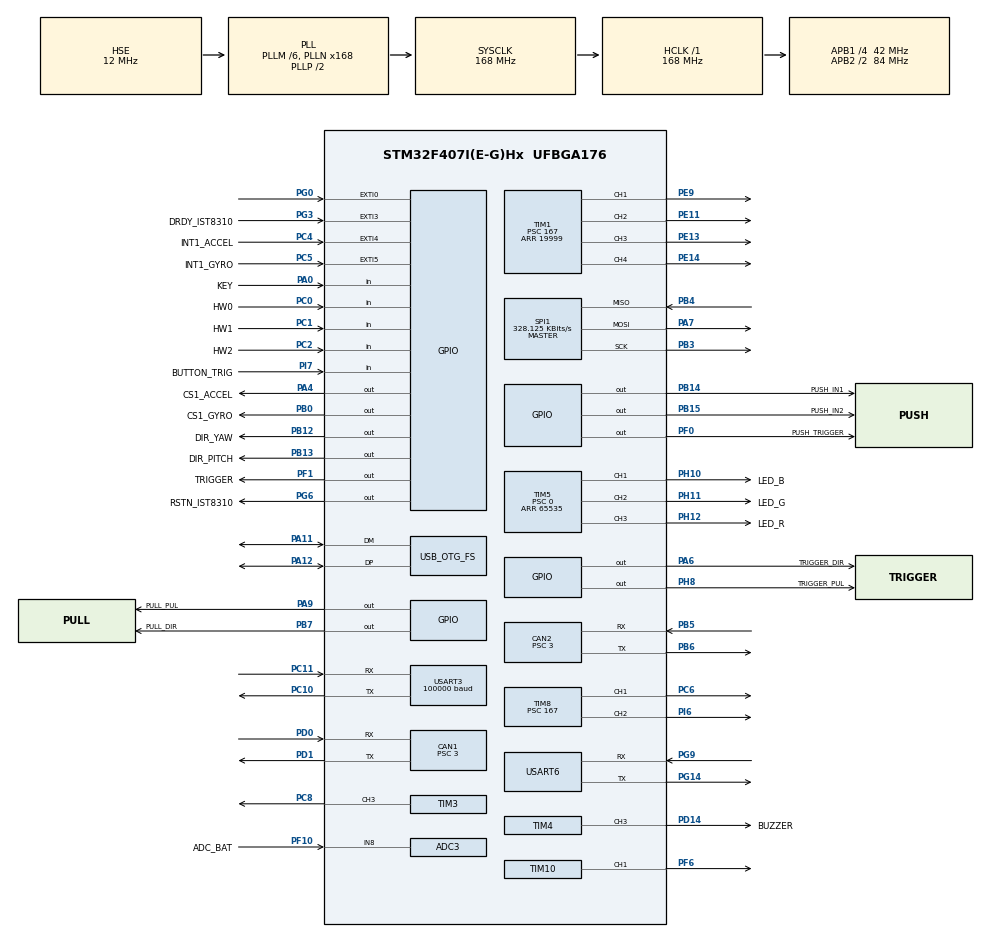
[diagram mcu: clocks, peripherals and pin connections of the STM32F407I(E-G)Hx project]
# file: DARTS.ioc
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ADC1.Channel-0\#ChannelRegularConversion=ADC_CHANNEL_TEMPSENSOR
ADC1.ClockPrescaler=ADC_CLOCK_SYNC_PCLK_DIV6
ADC1.NbrOfConversionFlag=1
ADC1.Rank-0\#ChannelRegularConversion=1
ADC1.SamplingTime-0\#ChannelRegularConversion=ADC_SAMPLETIME_3CYCLES
ADC1.master=1
ADC3.Channel-0\#ChannelRegularConversion=ADC_CHANNEL_8
ADC3.ClockPrescaler=ADC_CLOCK_SYNC_PCLK_DIV6
ADC3.NbrOfConversionFlag=1
ADC3.Rank-0\#ChannelRegularConversion=1
ADC3.SamplingTime-0\#ChannelRegularConversion=ADC_SAMPLETIME_3CYCLES
CAN1.BS1=CAN_BS1_10TQ
CAN1.BS2=CAN_BS2_3TQ
CAN1.CalculateTimeQuantum=71.42857142857143
CAN1.Prescaler=3
CAN2.BS1=CAN_BS1_10TQ
CAN2.BS2=CAN_BS2_3TQ
CAN2.CalculateTimeQuantum=71.42857142857143
CAN2.Prescaler=3
Dma.Request0=SPI1_RX
Dma.Request1=SPI1_TX
Dma.Request2=USART3_RX
Dma.Request3=USART6_RX
Dma.Request4=USART6_TX
Dma.SPI1_RX.0.Direction=DMA_PERIPH_TO_MEMORY
Dma.SPI1_RX.0.FIFOMode=DMA_FIFOMODE_DISABLE
Dma.SPI1_RX.0.Instance=DMA2_Stream2
Dma.SPI1_RX.0.MemDataAlignment=DMA_MDATAALIGN_BYTE
Dma.SPI1_RX.0.MemInc=DMA_MINC_ENABLE
Dma.SPI1_RX.0.Mode=DMA_NORMAL
Dma.SPI1_RX.0.PeriphDataAlignment=DMA_PDATAALIGN_BYTE
Dma.SPI1_RX.0.PeriphInc=DMA_PINC_DISABLE
Dma.SPI1_RX.0.Priority=DMA_PRIORITY_VERY_HIGH
Dma.SPI1_TX.1.Direction=DMA_MEMORY_TO_PERIPH
Dma.SPI1_TX.1.FIFOMode=DMA_FIFOMODE_DISABLE
Dma.SPI1_TX.1.Instance=DMA2_Stream3
Dma.SPI1_TX.1.MemDataAlignment=DMA_MDATAALIGN_BYTE
Dma.SPI1_TX.1.MemInc=DMA_MINC_ENABLE
Dma.SPI1_TX.1.Mode=DMA_NORMAL
Dma.SPI1_TX.1.PeriphDataAlignment=DMA_PDATAALIGN_BYTE
Dma.SPI1_TX.1.PeriphInc=DMA_PINC_DISABLE
Dma.SPI1_TX.1.Priority=DMA_PRIORITY_HIGH
Dma.USART3_RX.2.Direction=DMA_PERIPH_TO_MEMORY
Dma.USART3_RX.2.FIFOMode=DMA_FIFOMODE_DISABLE
Dma.USART3_RX.2.Instance=DMA1_Stream1
Dma.USART3_RX.2.MemDataAlignment=DMA_MDATAALIGN_BYTE
Dma.USART3_RX.2.MemInc=DMA_MINC_ENABLE
Dma.USART3_RX.2.Mode=DMA_NORMAL
Dma.USART3_RX.2.PeriphDataAlignment=DMA_PDATAALIGN_BYTE
Dma.USART3_RX.2.PeriphInc=DMA_PINC_DISABLE
Dma.USART3_RX.2.Priority=DMA_PRIORITY_HIGH
Dma.USART6_RX.3.Direction=DMA_PERIPH_TO_MEMORY
Dma.USART6_RX.3.FIFOMode=DMA_FIFOMODE_DISABLE
Dma.USART6_RX.3.Instance=DMA2_Stream1
Dma.USART6_RX.3.MemDataAlignment=DMA_MDATAALIGN_BYTE
Dma.USART6_RX.3.MemInc=DMA_MINC_ENABLE
Dma.USART6_RX.3.Mode=DMA_NORMAL
Dma.USART6_RX.3.PeriphDataAlignment=DMA_PDATAALIGN_BYTE
Dma.USART6_RX.3.PeriphInc=DMA_PINC_DISABLE
Dma.USART6_RX.3.Priority=DMA_PRIORITY_HIGH
Dma.USART6_TX.4.Direction=DMA_MEMORY_TO_PERIPH
Dma.USART6_TX.4.FIFOMode=DMA_FIFOMODE_DISABLE
Dma.USART6_TX.4.Instance=DMA2_Stream6
Dma.USART6_TX.4.MemDataAlignment=DMA_MDATAALIGN_BYTE
Dma.USART6_TX.4.MemInc=DMA_MINC_ENABLE
Dma.USART6_TX.4.Mode=DMA_NORMAL
Dma.USART6_TX.4.PeriphDataAlignment=DMA_PDATAALIGN_BYTE
Dma.USART6_TX.4.PeriphInc=DMA_PINC_DISABLE
Dma.USART6_TX.4.Priority=DMA_PRIORITY_MEDIUM
FREERTOS.INCLUDE_eTaskGetState=1
FREERTOS.INCLUDE_pcTaskGetTaskName=1
FREERTOS.INCLUDE_uxTaskGetStackHighWaterMark=1
FREERTOS.INCLUDE_vTaskCleanUpResources=1
FREERTOS.INCLUDE_vTaskDelayUntil=1
FREERTOS.INCLUDE_xEventGroupSetBitFromISR=1
FREERTOS.INCLUDE_xQueueGetMutexHolder=1
FREERTOS.INCLUDE_xSemaphoreGetMutexHolder=1
FREERTOS.INCLUDE_xTaskAbortDelay=1
FREERTOS.INCLUDE_xTaskGetCurrentTaskHandle=1
FREERTOS.INCLUDE_xTaskGetHandle=1
FREERTOS.INCLUDE_xTimerPendFunctionCall=1
FREERTOS.Tasks01=test,24,128,test_task,As weak,NULL,Dynamic,NULL,NULL
FREERTOS.configTOTAL_HEAP_SIZE=24576
Mcu.Family=STM32F4
Mcu.Name=STM32F407I(E-G)Hx
Mcu.Package=UFBGA176
NVIC.CAN1_RX0_IRQn=true\:6\:0\:true\:false\:true\:true\:true\:true
NVIC.CAN2_RX0_IRQn=true\:6\:0\:true\:false\:true\:true\:true\:true
NVIC.DMA1_Stream1_IRQn=true\:5\:0\:true\:false\:false\:true\:false\:false
NVIC.DMA2_Stream1_IRQn=true\:5\:0\:true\:false\:true\:true\:false\:true
NVIC.DMA2_Stream2_IRQn=true\:5\:0\:true\:false\:false\:true\:false\:true
NVIC.DMA2_Stream3_IRQn=true\:5\:0\:true\:false\:false\:true\:false\:true
NVIC.DMA2_Stream6_IRQn=true\:5\:0\:true\:false\:true\:true\:false\:true
NVIC.EXTI0_IRQn=true\:6\:0\:true\:false\:true\:true\:true\:true
NVIC.EXTI3_IRQn=true\:5\:0\:true\:false\:true\:true\:true\:true
NVIC.EXTI4_IRQn=true\:5\:0\:true\:false\:true\:true\:true\:true
NVIC.EXTI9_5_IRQn=true\:5\:0\:true\:false\:true\:true\:true\:true
NVIC.OTG_FS_IRQn=true\:5\:0\:false\:false\:true\:true\:false\:true
NVIC.PriorityGroup=NVIC_PRIORITYGROUP_4
NVIC.USART3_IRQn=true\:4\:0\:true\:false\:false\:false\:true\:true
NVIC.USART6_IRQn=true\:5\:0\:true\:false\:false\:true\:true\:true
PA0-WKUP.GPIO_Label=KEY
PA0-WKUP.GPIO_PuPd=GPIO_PULLUP
PA0-WKUP.Signal=GPIO_Input
PA11.Mode=Device_Only
PA11.Signal=USB_OTG_FS_DM
PA12.Mode=Device_Only
PA12.Signal=USB_OTG_FS_DP
PA13.Mode=Serial_Wire
PA13.Signal=SYS_JTMS-SWDIO
PA14.Mode=Serial_Wire
PA14.Signal=SYS_JTCK-SWCLK
PA4.GPIO_Label=CS1_ACCEL
PA4.GPIO_PuPd=GPIO_PULLUP
PA4.GPIO_Speed=GPIO_SPEED_FREQ_HIGH
PA4.PinState=GPIO_PIN_SET
PA4.Signal=GPIO_Output
PA6.GPIO_Label=TRIGGER_DIR
PA6.GPIO_PuPd=GPIO_PULLUP
PA6.PinState=GPIO_PIN_SET
PA6.Signal=GPIO_Output
PA7.GPIO_PuPd=GPIO_PULLUP
PA7.Mode=Full_Duplex_Master
PA7.Signal=SPI1_MOSI
PA8.Signal=I2C3_SCL
PA9.GPIO_Label=PULL_PUL
PA9.GPIO_PuPd=GPIO_PULLUP
PA9.PinState=GPIO_PIN_SET
PA9.Signal=GPIO_Output
PB0.GPIO_Label=CS1_GYRO
PB0.GPIO_PuPd=GPIO_PULLUP
PB0.GPIO_Speed=GPIO_SPEED_FREQ_HIGH
PB0.PinState=GPIO_PIN_SET
PB0.Signal=GPIO_Output
PB12.GPIO_Label=DIR_YAW
PB12.GPIO_PuPd=GPIO_PULLUP
PB12.GPIO_Speed=GPIO_SPEED_FREQ_LOW
PB12.PinState=GPIO_PIN_SET
PB12.Signal=GPIO_Output
PB13.GPIO_Label=DIR_PITCH
PB13.GPIO_PuPd=GPIO_PULLUP
PB13.PinState=GPIO_PIN_SET
PB13.Signal=GPIO_Output
PB14.GPIO_Label=PUSH_IN1
PB14.GPIO_PuPd=GPIO_PULLUP
PB14.PinState=GPIO_PIN_SET
PB14.Signal=GPIO_Output
PB15.GPIO_Label=PUSH_IN2
PB15.GPIO_PuPd=GPIO_PULLUP
PB15.PinState=GPIO_PIN_SET
PB15.Signal=GPIO_Output
PB3.GPIO_PuPd=GPIO_PULLUP
PB3.Mode=Full_Duplex_Master
PB3.Signal=SPI1_SCK
PB4.GPIO_PuPd=GPIO_PULLUP
PB4.Mode=Full_Duplex_Master
PB4.Signal=SPI1_MISO
PB5.Mode=Slave
PB5.Signal=CAN2_RX
PB6.Mode=Slave
PB6.Signal=CAN2_TX
PB7.GPIO_Label=PULL_DIR
PB7.GPIO_PuPd=GPIO_PULLUP
PB7.PinState=GPIO_PIN_SET
PB7.Signal=GPIO_Output
PC0.GPIO_Label=HW0
PC0.Signal=GPIO_Input
PC1.GPIO_Label=HW1
PC1.Signal=GPIO_Input
PC10.Mode=Asynchronous
PC10.Signal=USART3_TX
PC11.Mode=Asynchronous
PC11.Signal=USART3_RX
PC2.GPIO_Label=HW2
PC2.Signal=GPIO_Input
PC4.GPIO_Label=INT1_ACCEL
PC4.GPIO_ModeDefaultEXTI=GPIO_MODE_IT_FALLING
PC4.GPIO_PuPd=GPIO_PULLUP
PC4.Signal=GPXTI4
PC5.GPIO_Label=INT1_GYRO
PC5.GPIO_ModeDefaultEXTI=GPIO_MODE_IT_FALLING
PC5.GPIO_PuPd=GPIO_PULLUP
PC5.Signal=GPXTI5
PC6.GPIO_PuPd=GPIO_PULLUP
PC6.GPIO_Speed=GPIO_SPEED_FREQ_HIGH
PC6.Signal=S_TIM8_CH1
PC8.GPIO_PuPd=GPIO_PULLUP
PC8.GPIO_Speed=GPIO_SPEED_FREQ_HIGH
PC8.Signal=S_TIM3_CH3
PC9.Signal=I2C3_SDA
PD0.Mode=Master
PD0.Signal=CAN1_RX
PD1.Mode=Master
PD1.Signal=CAN1_TX
PD14.GPIO_Label=BUZZER
PD14.GPIO_PuPd=GPIO_PULLUP
PD14.GPIO_Speed=GPIO_SPEED_FREQ_VERY_HIGH
PD14.Signal=S_TIM4_CH3
PE11.GPIO_PuPd=GPIO_PULLUP
PE11.GPIO_Speed=GPIO_SPEED_FREQ_HIGH
PE11.Signal=S_TIM1_CH2
PE13.GPIO_PuPd=GPIO_PULLUP
PE13.GPIO_Speed=GPIO_SPEED_FREQ_HIGH
PE13.Signal=S_TIM1_CH3
PE14.GPIO_PuPd=GPIO_PULLUP
PE14.GPIO_Speed=GPIO_SPEED_FREQ_HIGH
PE14.Signal=S_TIM1_CH4
PE9.GPIO_PuPd=GPIO_PULLUP
PE9.GPIO_Speed=GPIO_SPEED_FREQ_HIGH
PE9.Signal=S_TIM1_CH1
PF0.GPIO_Label=PUSH_TRIGGER
PF0.GPIO_ModeDefaultOutputPP=GPIO_MODE_OUTPUT_PP
PF0.GPIO_PuPd=GPIO_PULLUP
PF0.PinState=GPIO_PIN_SET
PF0.Signal=GPIO_Output
PF1.GPIO_Label=TRIGGER
PF1.GPIO_PuPd=GPIO_PULLUP
PF1.PinState=GPIO_PIN_SET
PF1.Signal=GPIO_Output
PF10.GPIO_Label=ADC_BAT
PF10.Mode=IN8
PF10.Signal=ADC3_IN8
PF6.GPIO_PuPd=GPIO_PULLUP
PF6.GPIO_Speed=GPIO_SPEED_FREQ_HIGH
PF6.Signal=S_TIM10_CH1
PG0.GPIO_ModeDefaultEXTI=GPIO_MODE_IT_FALLING
PG0.GPIO_PuPd=GPIO_PULLUP
PG0.Signal=GPXTI0
PG14.Mode=Asynchronous
PG14.Signal=USART6_TX
PG3.GPIO_Label=DRDY_IST8310
PG3.GPIO_ModeDefaultEXTI=GPIO_MODE_IT_FALLING
PG3.GPIO_PuPd=GPIO_PULLUP
PG3.Signal=GPXTI3
PG6.GPIO_Label=RSTN_IST8310
PG6.GPIO_PuPd=GPIO_PULLUP
PG6.GPIO_Speed=GPIO_SPEED_FREQ_MEDIUM
PG6.PinState=GPIO_PIN_SET
PG6.Signal=GPIO_Output
PG9.Mode=Asynchronous
PG9.Signal=USART6_RX
PH0-OSC_IN.Mode=HSE-External-Oscillator
PH0-OSC_IN.Signal=RCC_OSC_IN
PH1-OSC_OUT.Mode=HSE-External-Oscillator
PH1-OSC_OUT.Signal=RCC_OSC_OUT
PH10.GPIO_Label=LED_B
PH10.GPIO_PuPd=GPIO_PULLUP
PH10.GPIO_Speed=GPIO_SPEED_FREQ_HIGH
PH10.Signal=S_TIM5_CH1
PH11.GPIO_Label=LED_G
PH11.GPIO_PuPd=GPIO_PULLUP
PH11.GPIO_Speed=GPIO_SPEED_FREQ_HIGH
PH11.Signal=S_TIM5_CH2
PH12.GPIO_Label=LED_R
PH12.GPIO_PuPd=GPIO_PULLUP
PH12.GPIO_Speed=GPIO_SPEED_FREQ_HIGH
PH12.Signal=S_TIM5_CH3
PH8.GPIO_Label=TRIGGER_PUL
PH8.GPIO_PuPd=GPIO_PULLUP
PH8.PinState=GPIO_PIN_SET
PH8.Signal=GPIO_Output
PI6.GPIO_PuPd=GPIO_PULLUP
PI6.GPIO_Speed=GPIO_SPEED_FREQ_HIGH
PI6.Signal=S_TIM8_CH2
PI7.GPIO_Label=BUTTON_TRIG
PI7.GPIO_PuPd=GPIO_PULLUP
PI7.Signal=GPIO_Input
ProjectManager.HeapSize=0x2000
ProjectManager.StackSize=0x2000
ProjectManager.TargetToolchain=MDK-ARM V5
RCC.48MHZClocksFreq_Value=48000000
RCC.AHBFreq_Value=168000000
RCC.APB1CLKDivider=RCC_HCLK_DIV4
RCC.APB1Freq_Value=42000000
RCC.APB1TimFreq_Value=84000000
RCC.APB2CLKDivider=RCC_HCLK_DIV2
RCC.APB2Freq_Value=84000000
RCC.APB2TimFreq_Value=168000000
RCC.CortexFreq_Value=168000000
RCC.HCLKFreq_Value=168000000
RCC.HSE_VALUE=12000000
RCC.HSI_VALUE=16000000
RCC.LSE_VALUE=32768
RCC.PLLM=6
RCC.PLLN=168
RCC.PLLQ=7
RCC.RCC_RTC_Clock_SourceVirtual=RCC_RTCCLKSOURCE_HSE_DIV30
RCC.RCC_RTC_Clock_Source_FROM_HSE=RCC_RTCCLKSOURCE_HSE_DIV30
RCC.SYSCLKFreq_VALUE=168000000
RCC.SYSCLKSource=RCC_SYSCLKSOURCE_PLLCLK
RCC.VCOOutputFreq_Value=336000000
RTC.AsynchPrediv=124
RTC.SynchPrediv=3199
SH.S_TIM10_CH1.0=TIM10_CH1,PWM Generation1 CH1
SH.S_TIM1_CH1.0=TIM1_CH1,PWM Generation1 CH1
SH.S_TIM1_CH2.0=TIM1_CH2,PWM Generation2 CH2
SH.S_TIM1_CH3.0=TIM1_CH3,PWM Generation3 CH3
SH.S_TIM1_CH4.0=TIM1_CH4,PWM Generation4 CH4
SH.S_TIM3_CH3.0=TIM3_CH3,PWM Generation3 CH3
SH.S_TIM4_CH3.0=TIM4_CH3,PWM Generation3 CH3
SH.S_TIM5_CH1.0=TIM5_CH1,PWM Generation1 CH1
SH.S_TIM5_CH2.0=TIM5_CH2,PWM Generation2 CH2
SH.S_TIM5_CH3.0=TIM5_CH3,PWM Generation3 CH3
SH.S_TIM8_CH1.0=TIM8_CH1,PWM Generation1 CH1
SH.S_TIM8_CH2.0=TIM8_CH2,PWM Generation2 CH2
SPI1.BaudRatePrescaler=SPI_BAUDRATEPRESCALER_256
SPI1.CLKPhase=SPI_PHASE_2EDGE
SPI1.CLKPolarity=SPI_POLARITY_HIGH
SPI1.CalculateBaudRate=328.125 KBits/s
SPI1.Direction=SPI_DIRECTION_2LINES
SPI1.Mode=SPI_MODE_MASTER
SPI1.VirtualType=VM_MASTER
TIM1.Channel-PWM\ Generation1\ CH1=TIM_CHANNEL_1
TIM1.Channel-PWM\ Generation2\ CH2=TIM_CHANNEL_2
TIM1.Channel-PWM\ Generation3\ CH3=TIM_CHANNEL_3
TIM1.Channel-PWM\ Generation4\ CH4=TIM_CHANNEL_4
TIM1.Period=19999
TIM1.Prescaler=167
TIM1.Pulse-PWM\ Generation1\ CH1=1000
TIM1.Pulse-PWM\ Generation2\ CH2=1000
TIM1.Pulse-PWM\ Generation3\ CH3=1000
TIM1.Pulse-PWM\ Generation4\ CH4=1000
TIM10.Channel=TIM_CHANNEL_1
TIM10.Period=4999
TIM3.Channel-PWM\ Generation3\ CH3=TIM_CHANNEL_3
TIM3.Period=8399
TIM4.Channel-PWM\ Generation3\ CH3=TIM_CHANNEL_3
TIM4.Period=65535
TIM4.Prescaler=167
TIM5.Channel-PWM\ Generation1\ CH1=TIM_CHANNEL_1
TIM5.Channel-PWM\ Generation2\ CH2=TIM_CHANNEL_2
TIM5.Channel-PWM\ Generation3\ CH3=TIM_CHANNEL_3
TIM5.Period=65535
TIM5.Prescaler=0
TIM8.Channel-PWM\ Generation1\ CH1=TIM_CHANNEL_1
TIM8.Channel-PWM\ Generation2\ CH2=TIM_CHANNEL_2
TIM8.Period=19999
TIM8.Prescaler=167
TIM8.Pulse-PWM\ Generation1\ CH1=1000
TIM8.Pulse-PWM\ Generation2\ CH2=1000
USART3.BaudRate=100000
USART3.Parity=PARITY_EVEN
USART3.VirtualMode=VM_ASYNC
USART6.VirtualMode=VM_ASYNC
USB_DEVICE.CLASS_NAME_FS=CDC
USB_DEVICE.VirtualMode-CDC_FS=Cdc
USB_DEVICE.VirtualModeFS=Cdc_FS
USB_OTG_FS.VirtualMode=Device_Only
VP_ADC1_TempSens_Input.Mode=IN-TempSens
VP_ADC1_Vref_Input.Mode=IN-Vrefint
VP_CRC_VS_CRC.Mode=CRC_Activate
VP_FREERTOS_VS_CMSIS_V1.Mode=CMSIS_V1
VP_RNG_VS_RNG.Mode=RNG_Activate
VP_RTC_VS_RTC_Activate.Mode=RTC_Enabled
VP_TIM10_VS_ClockSourceINT.Mode=Enable_Timer
VP_TIM1_VS_ClockSourceINT.Mode=Internal
VP_TIM3_VS_ClockSourceINT.Mode=Internal
VP_TIM4_VS_ClockSourceINT.Mode=Internal
VP_TIM5_VS_ClockSourceINT.Mode=Internal
VP_TIM8_VS_ClockSourceINT.Mode=Internal
VP_USB_DEVICE_VS_USB_DEVICE_CDC_FS.Mode=CDC_FS
board=custom

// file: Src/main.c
/* USER CODE BEGIN Header */
/**
  ******************************************************************************
  * @file           : main.c
  * @brief          : Main program body
  ******************************************************************************
  * @attention
  *
  * <h2><center>&copy; Copyright (c) 2021 STMicroelectronics.
  * All rights reserved.</center></h2>
  *
  * This software component is licensed by ST under Ultimate Liberty license
  * SLA0044, the "License"; You may not use this file except in compliance with
  * the License. You may obtain a copy of the License at:
  *                             www.st.com/SLA0044
  *
  ******************************************************************************
  */
/* USER CODE END Header */

#include "main.h"
#include "cmsis_os.h"
#include "adc.h"
#include "can.h"
#include "crc.h"
#include "dma.h"
#include "rng.h"
#include "rtc.h"
#include "spi.h"
#include "tim.h"
#include "usart.h"
#include "usb_device.h"
#include "gpio.h"

/* USER CODE BEGIN Includes */
#include "bsp_can.h"
#include "bsp_delay.h"
#include "bsp_usart.h"
#include "remote_control.h"
#include "chassis_task.h"
/* USER CODE END Includes */

void SystemClock_Config(void);
void MX_FREERTOS_Init(void);

int main(void)
{

  /* MCU Configuration--------------------------------------------------------*/

  /* Reset of all peripherals, Initializes the Flash interface and the Systick. */
  HAL_Init();

  /* Configure the system clock */
  SystemClock_Config();

  /* Initialize all configured peripherals */
  MX_GPIO_Init();
  MX_DMA_Init();
  MX_ADC1_Init();
  MX_ADC3_Init();
  MX_CAN1_Init();
  MX_CAN2_Init();
  MX_SPI1_Init();
  MX_TIM4_Init();
  MX_TIM5_Init();
  MX_USART3_UART_Init();
  MX_TIM8_Init();
  MX_CRC_Init();
  MX_RNG_Init();
  MX_RTC_Init();
  MX_TIM1_Init();
  MX_TIM3_Init();
  MX_TIM10_Init();
  MX_USART6_UART_Init();
  /* USER CODE BEGIN 2 */
  HAL_TIM_Base_Start(&htim1);
  HAL_TIM_PWM_Start(&htim1, TIM_CHANNEL_1);
  HAL_TIM_PWM_Start(&htim1, TIM_CHANNEL_2);
  HAL_TIM_PWM_Start(&htim1, TIM_CHANNEL_3);
  HAL_TIM_PWM_Start(&htim1, TIM_CHANNEL_1);
  HAL_TIM_Base_Start(&htim8);
  HAL_TIM_PWM_Start(&htim8, TIM_CHANNEL_1);
  HAL_TIM_PWM_Start(&htim8, TIM_CHANNEL_2);
  HAL_TIM_PWM_Start(&htim8, TIM_CHANNEL_3);

  can_filter_init();
  can_receive_init();
  delay_init();
  remote_control_init();
  /* USER CODE END 2 */

  /* Call init function for freertos objects (in freertos.c) */
  MX_FREERTOS_Init();

  /* Start scheduler */
  osKernelStart();

  /* We should never get here as control is now taken by the scheduler */

  /* Infinite loop */
  while (1)
  {

  }
}

void SystemClock_Config(void)
{
  RCC_OscInitTypeDef RCC_OscInitStruct = {0};
  RCC_ClkInitTypeDef RCC_ClkInitStruct = {0};
  RCC_PeriphCLKInitTypeDef PeriphClkInitStruct = {0};

  /** Configure the main internal regulator output voltage
  */
  __HAL_RCC_PWR_CLK_ENABLE();
  __HAL_PWR_VOLTAGESCALING_CONFIG(PWR_REGULATOR_VOLTAGE_SCALE1);
  /** Initializes the CPU, AHB and APB busses clocks
  */
  RCC_OscInitStruct.OscillatorType = RCC_OSCILLATORTYPE_HSE;
  RCC_OscInitStruct.HSEState = RCC_HSE_ON;
  RCC_OscInitStruct.PLL.PLLState = RCC_PLL_ON;
  RCC_OscInitStruct.PLL.PLLSource = RCC_PLLSOURCE_HSE;
  RCC_OscInitStruct.PLL.PLLM = 6;
  RCC_OscInitStruct.PLL.PLLN = 168;
  RCC_OscInitStruct.PLL.PLLP = RCC_PLLP_DIV2;
  RCC_OscInitStruct.PLL.PLLQ = 7;
  if (HAL_RCC_OscConfig(&RCC_OscInitStruct) != HAL_OK)
  {
    Error_Handler();
  }
  /** Initializes the CPU, AHB and APB busses clocks
  */
  RCC_ClkInitStruct.ClockType = RCC_CLOCKTYPE_HCLK|RCC_CLOCKTYPE_SYSCLK
                              |RCC_CLOCKTYPE_PCLK1|RCC_CLOCKTYPE_PCLK2;
  RCC_ClkInitStruct.SYSCLKSource = RCC_SYSCLKSOURCE_PLLCLK;
  RCC_ClkInitStruct.AHBCLKDivider = RCC_SYSCLK_DIV1;
  RCC_ClkInitStruct.APB1CLKDivider = RCC_HCLK_DIV4;
  RCC_ClkInitStruct.APB2CLKDivider = RCC_HCLK_DIV2;

  if (HAL_RCC_ClockConfig(&RCC_ClkInitStruct, FLASH_LATENCY_5) != HAL_OK)
  {
    Error_Handler();
  }
  PeriphClkInitStruct.PeriphClockSelection = RCC_PERIPHCLK_RTC;
  PeriphClkInitStruct.RTCClockSelection = RCC_RTCCLKSOURCE_HSE_DIV30;
  if (HAL_RCCEx_PeriphCLKConfig(&PeriphClkInitStruct) != HAL_OK)
  {
    Error_Handler();
  }
}

void Error_Handler(void)
{
}

/************************ (C) COPYRIGHT STMicroelectronics *****END OF FILE****/

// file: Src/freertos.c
/* USER CODE BEGIN Header */
/**
  ******************************************************************************
  * File Name          : freertos.c
  * Description        : Code for freertos applications
  ******************************************************************************
  * @attention
  *
  * <h2><center>&copy; Copyright (c) 2021 STMicroelectronics.
  * All rights reserved.</center></h2>
  *
  * This software component is licensed by ST under Ultimate Liberty license
  * SLA0044, the "License"; You may not use this file except in compliance with
  * the License. You may obtain a copy of the License at:
  *                             www.st.com/SLA0044
  *
  ******************************************************************************
  */
/* USER CODE END Header */

#include "FreeRTOS.h"
#include "task.h"
#include "main.h"
#include "cmsis_os.h"

/* USER CODE BEGIN Includes */
#include "chassis_task.h"
#include "shoot_task.h"
/* USER CODE END Includes */

/* USER CODE BEGIN Variables */
osThreadId chassisTaskHandle;
osThreadId shoot_task_handle;
/* USER CODE END Variables */
osThreadId testHandle;

void test_task(void const * argument);

extern void MX_USB_DEVICE_Init(void);
void MX_FREERTOS_Init(void); /* (MISRA C 2004 rule 8.1) */

/* GetIdleTaskMemory prototype (linked to static allocation support) */
void vApplicationGetIdleTaskMemory( StaticTask_t **ppxIdleTaskTCBBuffer, StackType_t **ppxIdleTaskStackBuffer, uint32_t *pulIdleTaskStackSize );

/* GetTimerTaskMemory prototype (linked to static allocation support) */
void vApplicationGetTimerTaskMemory( StaticTask_t **ppxTimerTaskTCBBuffer, StackType_t **ppxTimerTaskStackBuffer, uint32_t *pulTimerTaskStackSize );

/* USER CODE BEGIN GET_IDLE_TASK_MEMORY */
static StaticTask_t xIdleTaskTCBBuffer;
static StackType_t xIdleStack[configMINIMAL_STACK_SIZE];

void vApplicationGetIdleTaskMemory( StaticTask_t **ppxIdleTaskTCBBuffer, StackType_t **ppxIdleTaskStackBuffer, uint32_t *pulIdleTaskStackSize )
{
  *ppxIdleTaskTCBBuffer = &xIdleTaskTCBBuffer;
  *ppxIdleTaskStackBuffer = &xIdleStack[0];
  *pulIdleTaskStackSize = configMINIMAL_STACK_SIZE;
  /* place for user code */
}
/* USER CODE END GET_IDLE_TASK_MEMORY */

/* USER CODE BEGIN GET_TIMER_TASK_MEMORY */
static StaticTask_t xTimerTaskTCBBuffer;
static StackType_t xTimerStack[configTIMER_TASK_STACK_DEPTH];

void vApplicationGetTimerTaskMemory( StaticTask_t **ppxTimerTaskTCBBuffer, StackType_t **ppxTimerTaskStackBuffer, uint32_t *pulTimerTaskStackSize )
{
  *ppxTimerTaskTCBBuffer = &xTimerTaskTCBBuffer;
  *ppxTimerTaskStackBuffer = &xTimerStack[0];
  *pulTimerTaskStackSize = configTIMER_TASK_STACK_DEPTH;
  /* place for user code */
}
/* USER CODE END GET_TIMER_TASK_MEMORY */

void MX_FREERTOS_Init(void) {

  /* Create the thread(s) */
  /* definition and creation of test */
  osThreadDef(test, test_task, osPriorityNormal, 0, 128);
  testHandle = osThreadCreate(osThread(test), NULL);

  /* USER CODE BEGIN RTOS_THREADS */
  /* add threads, ... */
  osThreadDef(ChassisTask, chassis_task, osPriorityAboveNormal, 0, 512);
  chassisTaskHandle = osThreadCreate(osThread(ChassisTask), NULL);

  osThreadDef(ShootTask, shoot_task, osPriorityHigh, 0, 512);
  shoot_task_handle = osThreadCreate(osThread(ShootTask), NULL);
  /* USER CODE END RTOS_THREADS */

}

__weak void test_task(void const * argument)
{
  /* init code for USB_DEVICE */
  MX_USB_DEVICE_Init();

  for(;;)
  {
    osDelay(1);
  }
}

/************************ (C) COPYRIGHT STMicroelectronics *****END OF FILE****/
